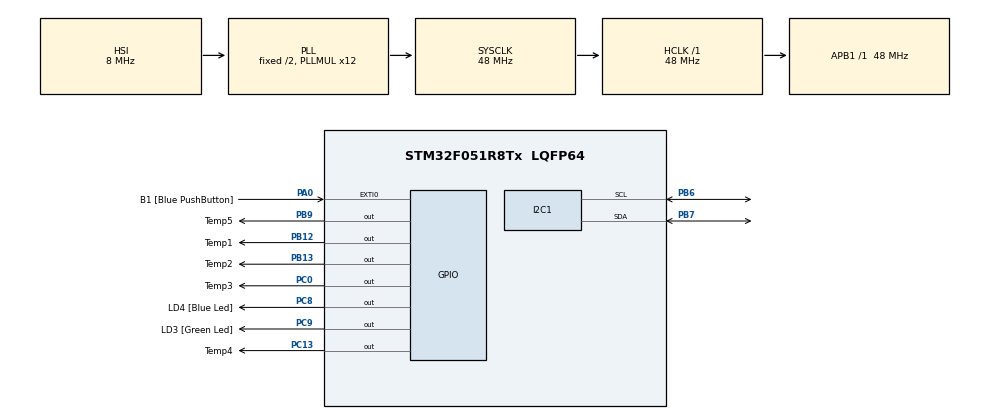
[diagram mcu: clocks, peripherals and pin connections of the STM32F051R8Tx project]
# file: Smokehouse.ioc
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Dma.I2C1_RX.1.Direction=DMA_PERIPH_TO_MEMORY
Dma.I2C1_RX.1.Instance=DMA1_Channel3
Dma.I2C1_RX.1.MemDataAlignment=DMA_MDATAALIGN_BYTE
Dma.I2C1_RX.1.MemInc=DMA_MINC_ENABLE
Dma.I2C1_RX.1.Mode=DMA_NORMAL
Dma.I2C1_RX.1.PeriphDataAlignment=DMA_PDATAALIGN_BYTE
Dma.I2C1_RX.1.PeriphInc=DMA_PINC_DISABLE
Dma.I2C1_RX.1.Priority=DMA_PRIORITY_LOW
Dma.I2C1_TX.0.Direction=DMA_MEMORY_TO_PERIPH
Dma.I2C1_TX.0.Instance=DMA1_Channel2
Dma.I2C1_TX.0.MemDataAlignment=DMA_MDATAALIGN_BYTE
Dma.I2C1_TX.0.MemInc=DMA_MINC_ENABLE
Dma.I2C1_TX.0.Mode=DMA_NORMAL
Dma.I2C1_TX.0.PeriphDataAlignment=DMA_PDATAALIGN_BYTE
Dma.I2C1_TX.0.PeriphInc=DMA_PINC_DISABLE
Dma.I2C1_TX.0.Priority=DMA_PRIORITY_LOW
Dma.Request0=I2C1_TX
Dma.Request1=I2C1_RX
Mcu.Family=STM32F0
Mcu.Name=STM32F051R8Tx
Mcu.Package=LQFP64
NVIC.DMA1_Channel2_3_IRQn=true\:0\:0\:false\:false\:true\:false\:true
NVIC.I2C1_IRQn=true\:0\:0\:false\:false\:true\:true\:true
PA0.GPIO_Label=B1 [Blue PushButton]
PA0.GPIO_ModeDefaultEXTI=GPIO_MODE_EVT_RISING
PA0.Signal=GPXTI0
PA13.GPIO_Label=SWDIO
PA13.Mode=Serial_Wire
PA13.Signal=SYS_SWDIO
PA14.GPIO_Label=SWCLK
PA14.Mode=Serial_Wire
PA14.Signal=SYS_SWCLK
PB12.GPIO_Label=Temp1
PB12.Signal=GPIO_Output
PB13.GPIO_Label=Temp2
PB13.Signal=GPIO_Output
PB6.Mode=I2C
PB6.Signal=I2C1_SCL
PB7.Mode=I2C
PB7.Signal=I2C1_SDA
PB9.GPIO_Label=Temp5
PB9.GPIO_PuPd=GPIO_PULLUP
PB9.Signal=GPIO_Output
PC0.GPIO_Label=Temp3
PC0.Signal=GPIO_Output
PC13.GPIO_Label=Temp4
PC13.Signal=GPIO_Output
PC8.GPIO_Label=LD4 [Blue Led]
PC8.Signal=GPIO_Output
PC9.GPIO_Label=LD3 [Green Led]
PC9.Signal=GPIO_Output
ProjectManager.HeapSize=0x200
ProjectManager.StackSize=0x400
ProjectManager.TargetToolchain=STM32CubeIDE
RCC.AHBFreq_Value=48000000
RCC.APB1Freq_Value=48000000
RCC.APB1TimFreq_Value=48000000
RCC.HCLKFreq_Value=48000000
RCC.PLLMUL=RCC_PLL_MUL12
RCC.SYSCLKFreq_VALUE=48000000
RCC.SYSCLKSource=RCC_SYSCLKSOURCE_PLLCLK
TIM1.Prescaler=48-1
VP_TIM1_VS_ClockSourceINT.Mode=Internal
board=STM32F0DISCOVERY

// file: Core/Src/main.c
/* USER CODE BEGIN Header */
/**
  ******************************************************************************
  * @file           : main.c
  * @brief          : Main program body
  ******************************************************************************
  * @attention
  *
  * Copyright (c) 2022 STMicroelectronics.
  * All rights reserved.
  *
  * This software is licensed under terms that can be found in the LICENSE file
  * in the root directory of this software component.
  * If no LICENSE file comes with this software, it is provided AS-IS.
  *
  ******************************************************************************
  */
/* USER CODE END Header */
#include "main.h"

/* USER CODE BEGIN Includes */
#include "ds18b20.h"
#include "hd44780.h"
/* USER CODE END Includes */

I2C_HandleTypeDef hi2c1;
DMA_HandleTypeDef hdma_i2c1_tx;
DMA_HandleTypeDef hdma_i2c1_rx;

TIM_HandleTypeDef htim1;

/* USER CODE BEGIN PV */
float Temperature = 0;
float Humidity = 0;
uint8_t Presence = 0;
uint8_t Temp_byte1, Temp_byte2;
uint16_t TEMP;
static uint16_t u16_CurrentSensor = 5;
static GPIO_TypeDef *CurrentPort;
static uint16_t CurrentPin;
lcd_hd44780_t lcd;

/* USER CODE END PV */

void SystemClock_Config(void);
static void MX_GPIO_Init(void);
static void MX_TIM1_Init(void);
static void MX_DMA_Init(void);
static void MX_I2C1_Init(void);

/* USER CODE BEGIN 0 */

void Set_Pin_Output (GPIO_TypeDef *GPIOx, uint16_t GPIO_Pin)
{
	GPIO_InitTypeDef GPIO_InitStruct = {0};
	GPIO_InitStruct.Pin = GPIO_Pin;
	GPIO_InitStruct.Mode = GPIO_MODE_OUTPUT_PP;
	GPIO_InitStruct.Speed = GPIO_SPEED_FREQ_LOW;
	HAL_GPIO_Init(GPIOx, &GPIO_InitStruct);
}

void Set_Pin_Input (GPIO_TypeDef *GPIOx, uint16_t GPIO_Pin)
{
	GPIO_InitTypeDef GPIO_InitStruct = {0};
	GPIO_InitStruct.Pin = GPIO_Pin;
	GPIO_InitStruct.Mode = GPIO_MODE_INPUT;
	GPIO_InitStruct.Pull = GPIO_PULLUP;
	HAL_GPIO_Init(GPIOx, &GPIO_InitStruct);
}

/* USER CODE END 0 */

int main(void)
{

  /* MCU Configuration--------------------------------------------------------*/

  /* Reset of all peripherals, Initializes the Flash interface and the Systick. */
  HAL_Init();

  /* Configure the system clock */
  SystemClock_Config();

  /* Initialize all configured peripherals */
  MX_GPIO_Init();
  MX_TIM1_Init();
  MX_DMA_Init();
  MX_I2C1_Init();
  /* USER CODE BEGIN 2 */

  HAL_TIM_Base_Start(&htim1);

  lcd.hi2c = &hi2c1;

  lcd_hd44780_init(&lcd, (uint8_t)0x3F, (uint8_t)4, (uint8_t)20);

  // Print text and home position 0,0
  lcd_hd44780_print_str(&lcd, (uint8_t*)"Hello,", 6);

  // Set cursor at zero position of line 3
  lcd_hd44780_set_cursor_position(&lcd, 0, 2);

  // Print text at cursor position
  lcd_hd44780_print_str(&lcd, (uint8_t*)"World!", 6);

  /* USER CODE END 2 */

  /* Infinite loop */
  while (1)
  {

    /* USER CODE BEGIN 3 */

	  for (int i = 0; i < 5; i++)
	  {
		  switch (u16_CurrentSensor)
		  {
		  	  case 1:
		  		  	CurrentPin = Temp2_Pin;
		  		  	CurrentPort = Temp2_GPIO_Port;
		  		  	u16_CurrentSensor = 2;
		  		  break;
		  	  case 2:
			  		CurrentPin = Temp3_Pin;
					CurrentPort = Temp3_GPIO_Port;
					u16_CurrentSensor = 3;
		  		  break;
		  	  case 3:
			  		CurrentPin = Temp4_Pin;
					CurrentPort = Temp4_GPIO_Port;
					u16_CurrentSensor = 4;
		  		  break;
		  	  case 4:
			  		CurrentPin = Temp5_Pin;
					CurrentPort = Temp5_GPIO_Port;
					u16_CurrentSensor = 5;
		  		  break;
		  	  case 5:
			  		CurrentPin = Temp1_Pin;
					CurrentPort = Temp1_GPIO_Port;
					u16_CurrentSensor = 1;
		  		  break;
		  }

		  if (!DS18B20_Start (CurrentPort, CurrentPin))
		  {
			  HAL_GPIO_WritePin(LD4_GPIO_Port, LD4_Pin, 0);
		  }
		  else
		  {
			  HAL_GPIO_WritePin(LD4_GPIO_Port, LD4_Pin, 1);
		  }
		  HAL_Delay (1);
		  DS18B20_Write (CurrentPort, CurrentPin, 0xCC);  // skip ROM
		  DS18B20_Write (CurrentPort, CurrentPin, 0x44);  // convert t
		  HAL_Delay (800);

		  if (!DS18B20_Start (CurrentPort, CurrentPin))
		  {
			  HAL_GPIO_WritePin(LD4_GPIO_Port, LD4_Pin, 0);
		  }
		  else
		  {
			  HAL_GPIO_WritePin(LD4_GPIO_Port, LD4_Pin, 1);
		  }
		  HAL_Delay(1);
		  DS18B20_Write (CurrentPort, CurrentPin, 0xCC);  // skip ROM
		  DS18B20_Write (CurrentPort, CurrentPin, 0xBE);  // Read Scratch-pad

		  Temp_byte1 = DS18B20_Read(CurrentPort, CurrentPin);
		  Temp_byte2 = DS18B20_Read(CurrentPort, CurrentPin);

		  TEMP = (Temp_byte2<<8)|Temp_byte1;
		  Temperature = (float)TEMP/16;

		  HAL_Delay(1000);
	  }
  }
  /* USER CODE END 3 */
}

void SystemClock_Config(void)
{
  RCC_OscInitTypeDef RCC_OscInitStruct = {0};
  RCC_ClkInitTypeDef RCC_ClkInitStruct = {0};
  RCC_PeriphCLKInitTypeDef PeriphClkInit = {0};

  /** Initializes the RCC Oscillators according to the specified parameters
  * in the RCC_OscInitTypeDef structure.
  */
  RCC_OscInitStruct.OscillatorType = RCC_OSCILLATORTYPE_HSI;
  RCC_OscInitStruct.HSIState = RCC_HSI_ON;
  RCC_OscInitStruct.HSICalibrationValue = RCC_HSICALIBRATION_DEFAULT;
  RCC_OscInitStruct.PLL.PLLState = RCC_PLL_ON;
  RCC_OscInitStruct.PLL.PLLSource = RCC_PLLSOURCE_HSI;
  RCC_OscInitStruct.PLL.PLLMUL = RCC_PLL_MUL12;
  RCC_OscInitStruct.PLL.PREDIV = RCC_PREDIV_DIV1;
  if (HAL_RCC_OscConfig(&RCC_OscInitStruct) != HAL_OK)
  {
    Error_Handler();
  }
  /** Initializes the CPU, AHB and APB buses clocks
  */
  RCC_ClkInitStruct.ClockType = RCC_CLOCKTYPE_HCLK|RCC_CLOCKTYPE_SYSCLK
                              |RCC_CLOCKTYPE_PCLK1;
  RCC_ClkInitStruct.SYSCLKSource = RCC_SYSCLKSOURCE_PLLCLK;
  RCC_ClkInitStruct.AHBCLKDivider = RCC_SYSCLK_DIV1;
  RCC_ClkInitStruct.APB1CLKDivider = RCC_HCLK_DIV1;

  if (HAL_RCC_ClockConfig(&RCC_ClkInitStruct, FLASH_LATENCY_1) != HAL_OK)
  {
    Error_Handler();
  }
  PeriphClkInit.PeriphClockSelection = RCC_PERIPHCLK_I2C1;
  PeriphClkInit.I2c1ClockSelection = RCC_I2C1CLKSOURCE_HSI;
  if (HAL_RCCEx_PeriphCLKConfig(&PeriphClkInit) != HAL_OK)
  {
    Error_Handler();
  }
}

static void MX_I2C1_Init(void)
{

  hi2c1.Instance = I2C1;
  hi2c1.Init.Timing = 0x2000090E;
  hi2c1.Init.OwnAddress1 = 0;
  hi2c1.Init.AddressingMode = I2C_ADDRESSINGMODE_7BIT;
  hi2c1.Init.DualAddressMode = I2C_DUALADDRESS_DISABLE;
  hi2c1.Init.OwnAddress2 = 0;
  hi2c1.Init.OwnAddress2Masks = I2C_OA2_NOMASK;
  hi2c1.Init.GeneralCallMode = I2C_GENERALCALL_DISABLE;
  hi2c1.Init.NoStretchMode = I2C_NOSTRETCH_DISABLE;
  if (HAL_I2C_Init(&hi2c1) != HAL_OK)
  {
    Error_Handler();
  }
  /** Configure Analogue filter
  */
  if (HAL_I2CEx_ConfigAnalogFilter(&hi2c1, I2C_ANALOGFILTER_ENABLE) != HAL_OK)
  {
    Error_Handler();
  }
  /** Configure Digital filter
  */
  if (HAL_I2CEx_ConfigDigitalFilter(&hi2c1, 0) != HAL_OK)
  {
    Error_Handler();
  }

}

static void MX_TIM1_Init(void)
{

  TIM_ClockConfigTypeDef sClockSourceConfig = {0};
  TIM_MasterConfigTypeDef sMasterConfig = {0};

  htim1.Instance = TIM1;
  htim1.Init.Prescaler = 48-1;
  htim1.Init.CounterMode = TIM_COUNTERMODE_UP;
  htim1.Init.Period = 65535;
  htim1.Init.ClockDivision = TIM_CLOCKDIVISION_DIV1;
  htim1.Init.RepetitionCounter = 0;
  htim1.Init.AutoReloadPreload = TIM_AUTORELOAD_PRELOAD_DISABLE;
  if (HAL_TIM_Base_Init(&htim1) != HAL_OK)
  {
    Error_Handler();
  }
  sClockSourceConfig.ClockSource = TIM_CLOCKSOURCE_INTERNAL;
  if (HAL_TIM_ConfigClockSource(&htim1, &sClockSourceConfig) != HAL_OK)
  {
    Error_Handler();
  }
  sMasterConfig.MasterOutputTrigger = TIM_TRGO_RESET;
  sMasterConfig.MasterSlaveMode = TIM_MASTERSLAVEMODE_DISABLE;
  if (HAL_TIMEx_MasterConfigSynchronization(&htim1, &sMasterConfig) != HAL_OK)
  {
    Error_Handler();
  }

}

static void MX_DMA_Init(void)
{

  /* DMA controller clock enable */
  __HAL_RCC_DMA1_CLK_ENABLE();

  /* DMA interrupt init */
  /* DMA1_Channel2_3_IRQn interrupt configuration */
  HAL_NVIC_SetPriority(DMA1_Channel2_3_IRQn, 0, 0);
  HAL_NVIC_EnableIRQ(DMA1_Channel2_3_IRQn);

}

static void MX_GPIO_Init(void)
{
  GPIO_InitTypeDef GPIO_InitStruct = {0};

  /* GPIO Ports Clock Enable */
  __HAL_RCC_GPIOC_CLK_ENABLE();
  __HAL_RCC_GPIOA_CLK_ENABLE();
  __HAL_RCC_GPIOB_CLK_ENABLE();

  /*Configure GPIO pin Output Level */
  HAL_GPIO_WritePin(GPIOC, Temp4_Pin|Temp3_Pin|LD4_Pin|LD3_Pin, GPIO_PIN_RESET);

  /*Configure GPIO pin Output Level */
  HAL_GPIO_WritePin(GPIOB, Temp1_Pin|Temp2_Pin|Temp5_Pin, GPIO_PIN_RESET);

  /*Configure GPIO pins : Temp4_Pin Temp3_Pin LD4_Pin LD3_Pin */
  GPIO_InitStruct.Pin = Temp4_Pin|Temp3_Pin|LD4_Pin|LD3_Pin;
  GPIO_InitStruct.Mode = GPIO_MODE_OUTPUT_PP;
  GPIO_InitStruct.Pull = GPIO_NOPULL;
  GPIO_InitStruct.Speed = GPIO_SPEED_FREQ_LOW;
  HAL_GPIO_Init(GPIOC, &GPIO_InitStruct);

  /*Configure GPIO pin : B1_Pin */
  GPIO_InitStruct.Pin = B1_Pin;
  GPIO_InitStruct.Mode = GPIO_MODE_EVT_RISING;
  GPIO_InitStruct.Pull = GPIO_NOPULL;
  HAL_GPIO_Init(B1_GPIO_Port, &GPIO_InitStruct);

  /*Configure GPIO pins : Temp1_Pin Temp2_Pin */
  GPIO_InitStruct.Pin = Temp1_Pin|Temp2_Pin;
  GPIO_InitStruct.Mode = GPIO_MODE_OUTPUT_PP;
  GPIO_InitStruct.Pull = GPIO_NOPULL;
  GPIO_InitStruct.Speed = GPIO_SPEED_FREQ_LOW;
  HAL_GPIO_Init(GPIOB, &GPIO_InitStruct);

  /*Configure GPIO pin : Temp5_Pin */
  GPIO_InitStruct.Pin = Temp5_Pin;
  GPIO_InitStruct.Mode = GPIO_MODE_OUTPUT_PP;
  GPIO_InitStruct.Pull = GPIO_PULLUP;
  GPIO_InitStruct.Speed = GPIO_SPEED_FREQ_LOW;
  HAL_GPIO_Init(Temp5_GPIO_Port, &GPIO_InitStruct);

}

/* USER CODE BEGIN 4 */
void delay_us (uint16_t usec)
{
	__HAL_TIM_SET_COUNTER(&htim1,0);  // set the counter value a 0
	while (__HAL_TIM_GET_COUNTER(&htim1) < usec);  // wait for the counter to reach the us input in the parameter
}
/* USER CODE END 4 */

void Error_Handler(void)
{
  __disable_irq();
  while (1)
  {
  }
}
